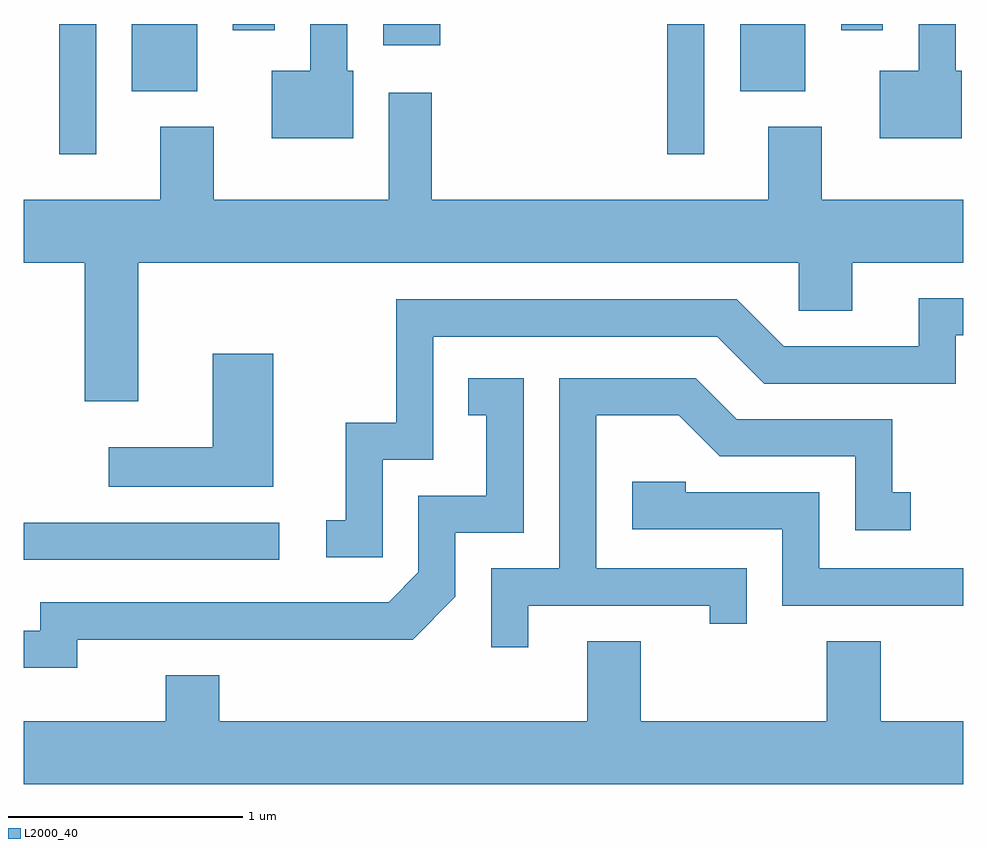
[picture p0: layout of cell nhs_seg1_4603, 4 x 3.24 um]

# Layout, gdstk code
import gdstk
lib = gdstk.Library(unit=1e-6, precision=1e-09)
def R(c, l, rs):  # rectangles x0, y0, x1, y1
    for r in rs: c.add(gdstk.rectangle(r[:2], r[2:], *l))
def P(c, l, *ps):  # polygons
    for p in ps: c.add(gdstk.Polygon(p, *l))
L2000_40 = (2000, 40)

nhs_seg1_4603 = lib.new_cell('nhs_seg1_4603')
R(nhs_seg1_4603, L2000_40, [(323.611,889.431,324.698,889.589), (323.761,891.158,323.919,891.712), (326.351,891.158,326.509,891.712), (324.071,891.426,324.349,891.712), (326.661,891.426,326.939,891.712), (325.141,891.621,325.384,891.712), (324.501,891.686,324.679,891.712), (327.091,891.686,327.269,891.712)])
P(nhs_seg1_4603, L2000_40, [(327.604,891.514),(327.579,891.514),(327.579,891.712),(327.421,891.712),(327.421,891.514),(327.256,891.514),(327.256,891.226),(327.604,891.226)],
  [(325.014,891.514),(324.989,891.514),(324.989,891.712),(324.831,891.712),(324.831,891.514),(324.666,891.514),(324.666,891.226),(325.014,891.226)],
  [(324.099,890.696),(326.911,890.696),(326.911,890.491),(327.139,890.491),(327.139,890.696),(327.611,890.696),(327.611,890.964),(327.009,890.964),(327.009,891.274),(326.781,891.274),(326.781,890.964),(325.349,890.964),(325.349,891.419),(325.166,891.419),(325.166,890.964),(324.419,890.964),(324.419,891.274),(324.191,891.274),(324.191,890.964),(323.611,890.964),(323.611,890.696),(323.871,890.696),(323.871,890.106),(324.099,890.106)],
  [(325.139,889.856),(325.354,889.856),(325.354,890.381),(326.564,890.381),(326.764,890.181),(327.579,890.181),(327.579,890.386),(327.611,890.386),(327.611,890.544),(327.421,890.544),(327.421,890.339),(326.847,890.339),(326.647,890.539),(325.196,890.539),(325.196,890.014),(324.981,890.014),(324.981,889.599),(324.898,889.599),(324.898,889.441),(325.139,889.441)],
  [(324.674,890.309),(324.416,890.309),(324.416,889.909),(323.973,889.909),(323.973,889.741),(324.674,889.741)],
  [(323.839,889.091),(325.267,889.091),(325.449,889.274),(325.449,889.546),(325.739,889.546),(325.739,890.204),(325.503,890.204),(325.503,890.046),(325.581,890.046),(325.581,889.704),(325.291,889.704),(325.291,889.377),(325.164,889.249),(323.681,889.249),(323.681,889.129),(323.611,889.129),(323.611,888.971),(323.839,888.971)],
  [(325.759,889.236),(326.531,889.236),(326.531,889.158),(326.689,889.158),(326.689,889.394),(326.049,889.394),(326.049,890.046),(326.399,890.046),(326.574,889.871),(327.151,889.871),(327.151,889.556),(327.388,889.556),(327.388,889.719),(327.309,889.719),(327.309,890.029),(326.647,890.029),(326.472,890.204),(325.891,890.204),(325.891,889.394),(325.601,889.394),(325.601,889.058),(325.759,889.058)],
  [(327.611,889.394),(326.999,889.394),(326.999,889.719),(326.429,889.719),(326.429,889.764),(326.201,889.764),(326.201,889.561),(326.841,889.561),(326.841,889.236),(327.611,889.236)],
  [(327.611,888.744),(327.259,888.744),(327.259,889.084),(327.031,889.084),(327.031,888.744),(326.239,888.744),(326.239,889.084),(326.011,889.084),(326.011,888.744),(324.444,888.744),(324.444,888.939),(324.216,888.939),(324.216,888.744),(323.611,888.744),(323.611,888.476),(327.611,888.476)])

lib.write_gds('nhs_seg1_4603.gds')
